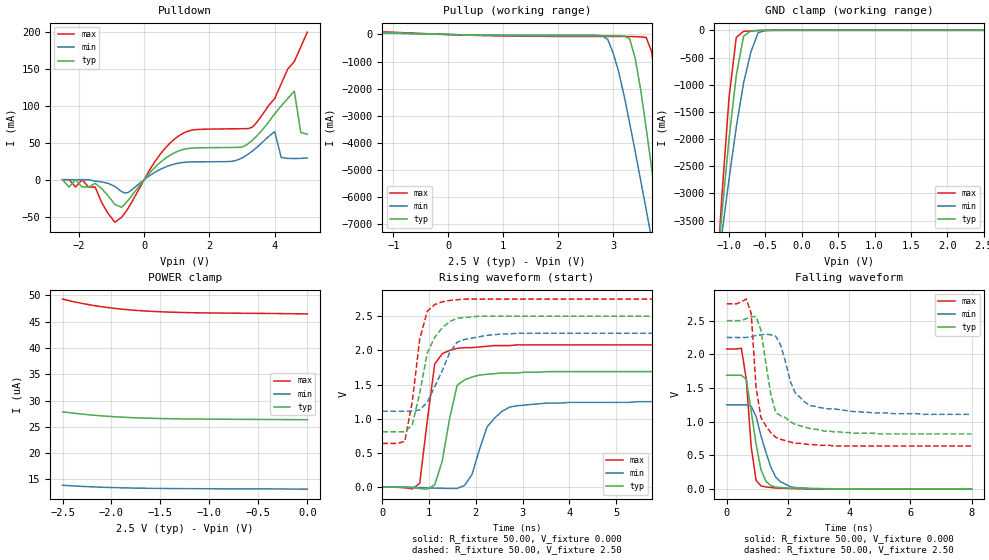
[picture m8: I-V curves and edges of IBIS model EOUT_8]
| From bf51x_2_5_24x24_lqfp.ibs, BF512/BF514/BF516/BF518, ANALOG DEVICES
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|   Model prwd0408swcdg_25
[Model]   EOUT_8
Model_type   I/O
Polarity   Non-Inverting
Enable   Active-Low
Vinl =   0.70V
Vinh =   1.70V
Vmeas =   1.20V
Cref =  50.00pF
Rref =   1.00M
Vref =  0.000V
C_comp   4.85pF   4.37pF   5.34pF
[Temperature Range]   25.00   0.12k   -40.00
[Voltage Range]   2.50V   2.25V   2.75V
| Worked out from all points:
|   slope of the pulldown table from 0 to 0.375 V, typ, clamps not added: 20.2 ohm
|   slope of the pullup table from 0 to 0.375 V, typ, clamps not added: 20.2 ohm
|   GND clamp passes 1 mA (typ) near -0.52 V on its own axis
|   rising waveform, R_fixture 50.00, V_fixture 0.000: 20-80 % time 293ps typ, 442ps min, 231ps max; typ from 0 V to 1.69 V
|   rising waveform, R_fixture 50.00, V_fixture 2.50: 20-80 % time 380ps typ, 467ps min, 275ps max; typ from 0.81 V to 2.5 V
|   falling waveform, R_fixture 50.00, V_fixture 0.000: 20-80 % time 365ps typ, 521ps min, 240ps max; typ from 1.69 V to 0 V
|   falling waveform, R_fixture 50.00, V_fixture 2.50: 20-80 % time 407ps typ, 615ps min, 278ps max; typ from 2.5 V to 0.82 V
[Pulldown]
| voltage   I(typ)   I(min)   I(max)
-2.5V     0A         0A         0A
-1.5V     -5mA       -2mA       -10mA
-900mV    -33.4mA    -9mA       -57.6mA
-500mV    -28.54mA   -17.58mA   -39.44mA
1V        37.88mA    21.95mA    57.44mA
3V        44.32mA    29.46mA    69.07mA
3.4V      56.97mA    41.8mA     74.87mA
4V        89.22mA    65.19mA    110mA
4.2V      100mA      30.03mA    130mA
4.6V      120mA      28.65mA    160mA
4.8V      63.75mA    28.88mA    180mA
5V        61.71mA    29.4mA     200mA
[Pullup]
| voltage   I(typ)   I(min)   I(max)
-2.5V     14.41mA    2.51mA     46.6mA
2.8V      -46.97mA   -42.82mA   -72.12mA
2.9V      -47.08mA   -180mA     -72.23mA
3V        -47.58mA   -690mA     -72.35mA
3.3V      -160mA     -3.28A     -74.28mA
3.4V      -880mA     -4.32A     -79.2mA
3.6V      -3.46A     -6.47A     -110mA
3.7V      -4.96A     -7.56A     -640mA
3.8V      -6.5A      -8.65A     -2.2A
4V        -9.62A     -10.85A    -6.34A
4.2V      -12.77A    -13.07A    -10.72A
5V        -25.49A    -21.97A    -28.57A
[GND_clamp]
| voltage   I(typ)   I(min)   I(max)
-2.5V     -25.44A    -19.16A    -34.1A
-1.2V     -4.91A     -4.82A     -5.19A
-1.1V     -3.41A     -3.77A     -3.1A
-1V       -2A        -2.74A     -1.24A
-900mV    -830mA     -1.78A     -130mA
-800mV    -110mA     -970mA     -19.39mA
-700mV    -10.1mA    -400mA     -9.87mA
-600mV    -2.61mA    -44.25mA   -3.54mA
-500mV    -470uA     -4.51mA    -570uA
2.5V      26.35uA    13.17uA    46.42uA
[POWER_clamp]
| voltage   I(typ)   I(min)   I(max)
-2.5V     27.85uA    13.87uA    49.31uA
-2.4V     27.62uA    13.76uA    48.86uA
-2.3V     27.41uA    13.66uA    48.48uA
-2.2V     27.23uA    13.57uA    48.14uA
-2.1V     27.08uA    13.5uA     47.85uA
-1.9V     26.84uA    13.39uA    47.4uA
-1.7V     26.68uA    13.32uA    47.09uA
-1.5V     26.57uA    13.27uA    46.89uA
-1.2V     26.48uA    13.23uA    46.72uA
-700mV    26.42uA    13.19uA    46.61uA
-400mV    26.39uA    13.18uA    46.57uA
0V        26.35uA    13.13uA    46.49uA
[Ramp]
| variable   typ   min   max
dV/dt_r   1.02/0.29n   0.75/0.48n   1.25/0.19n
dV/dt_f   1.01/0.42n   0.68/0.64n   1.27/0.27n
R_load = 50.00
[Rising Waveform]
R_fixture = 50.00
V_fixture = 0.000
V_fixture_min = 0.000
V_fixture_max = 0.000
L_fixture = 0.000H
C_fixture = 0.000F
| time   V(typ)   V(min)   V(max)
0s        0V         0V         0V
800ps     -19.63mV   -4.22mV    58.47mV
1.12ns    34.5mV     -13.25mV   1.8V
1.28ns    380mV      -16.02mV   1.95V
1.44ns    1.01V      -18.8mV    2V
1.6ns     1.49V      -17.69mV   2.03V
1.92ns    1.61V      190mV      2.04V
2.24ns    1.65V      880mV      2.06V
2.72ns    1.67V      1.17V      2.07V
8ns       1.69V      1.25V      2.08V
[Rising Waveform]
R_fixture = 50.00
V_fixture = 2.50
V_fixture_min = 2.25
V_fixture_max = 2.75
L_fixture = 0.000H
C_fixture = 0.000F
| time   V(typ)   V(min)   V(max)
0s        810mV      1.11V      640mV
480ps     810mV      1.11V      670mV
640ps     910mV      1.11V      1.25V
800ps     1.38V      1.13V      2.17V
960ps     1.96V      1.24V      2.57V
1.12ns    2.19V      1.47V      2.67V
1.44ns    2.42V      1.97V      2.73V
1.6ns     2.47V      2.12V      2.74V
2.24ns    2.5V       2.22V      2.75V
8ns       2.5V       2.25V      2.75V
[Falling Waveform]
R_fixture = 50.00
V_fixture = 0.000
V_fixture_min = 0.000
V_fixture_max = 0.000
L_fixture = 0.000H
C_fixture = 0.000F
| time   V(typ)   V(min)   V(max)
0s        1.69V      1.25V      2.08V
480ps     1.69V      1.25V      2.09V
640ps     1.63V      1.25V      1.63V
800ps     1.16V      1.23V      630mV
960ps     670mV      1.08V      130mV
1.12ns    290mV      790mV      48.33mV
1.28ns    120mV      550mV      33.1mV
1.6ns     30.42mV    180mV      17.25mV
2.08ns    15.26mV    35.73mV    9.55mV
8ns       52.52uV    76.44uV    31.29uV
[Falling Waveform]
R_fixture = 50.00
V_fixture = 2.50
V_fixture_min = 2.25
V_fixture_max = 2.75
L_fixture = 0.000H
C_fixture = 0.000F
| time   V(typ)   V(min)   V(max)
0s        2.5V       2.25V      2.75V
640ps     2.53V      2.25V      2.82V
800ps     2.56V      2.26V      2.61V
960ps     2.56V      2.28V      1.51V
1.12ns    2.36V      2.29V      1.06V
1.44ns    1.41V      2.29V      840mV
1.6ns     1.14V      2.27V      770mV
2.24ns    960mV      1.43V      680mV
2.72ns    900mV      1.24V      660mV
8ns       820mV      1.11V      640mV
